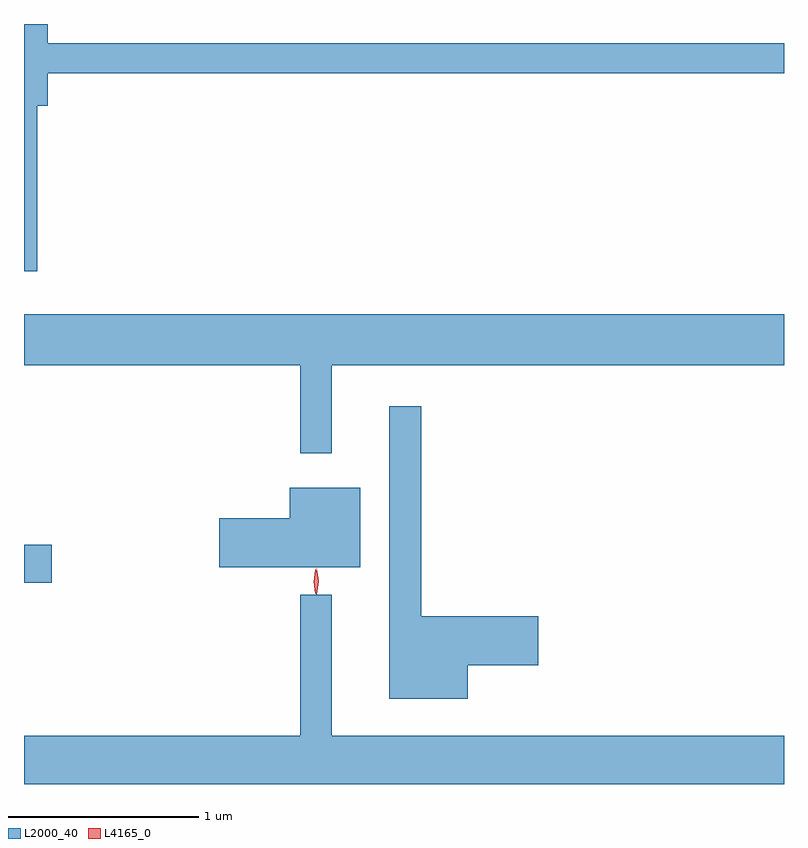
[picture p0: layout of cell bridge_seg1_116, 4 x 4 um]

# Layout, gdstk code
import gdstk
lib = gdstk.Library(unit=1e-6, precision=1e-09)
def R(c, l, rs):  # rectangles x0, y0, x1, y1
    for r in rs: c.add(gdstk.rectangle(r[:2], r[2:], *l))
def P(c, l, *ps):  # polygons
    for p in ps: c.add(gdstk.Polygon(p, *l))
L2000_40 = (2000, 40)
L4165_0 = (4165, 0)

bridge_seg1_116 = lib.new_cell('bridge_seg1_116')
R(bridge_seg1_116, L2000_40, [(1387.168,871.791,1387.314,871.989)])
P(bridge_seg1_116, L2000_40, [(1387.239,874.301),(1387.294,874.301),(1387.294,874.471),(1391.168,874.471),(1391.168,874.629),(1387.294,874.629),(1387.294,874.731),(1387.168,874.731),(1387.168,873.431),(1387.239,873.431)],
  [(1388.789,872.936),(1391.168,872.936),(1391.168,873.204),(1387.168,873.204),(1387.168,872.936),(1388.621,872.936),(1388.621,872.473),(1388.789,872.473)],
  [(1389.504,871.356),(1389.874,871.356),(1389.874,871.614),(1389.259,871.614),(1389.259,872.718),(1389.091,872.718),(1389.091,871.181),(1389.504,871.181)],
  [(1388.939,872.289),(1388.566,872.289),(1388.566,872.129),(1388.196,872.129),(1388.196,871.871),(1388.939,871.871)],
  [(1391.168,870.984),(1388.789,870.984),(1388.789,871.728),(1388.621,871.728),(1388.621,870.984),(1387.168,870.984),(1387.168,870.731),(1391.168,870.731)])
P(bridge_seg1_116, L4165_0, [(1388.707,871.73),(1388.707,871.73),(1388.698,871.798),(1388.709,871.865),(1388.709,871.866),(1388.71,871.865),(1388.718,871.798),(1388.708,871.73)],
  [(1388.702,871.733),(1388.702,871.734),(1388.692,871.796),(1388.702,871.859),(1388.702,871.86),(1388.703,871.859),(1388.712,871.796),(1388.703,871.734)])

lib.write_gds('bridge_seg1_116.gds')
